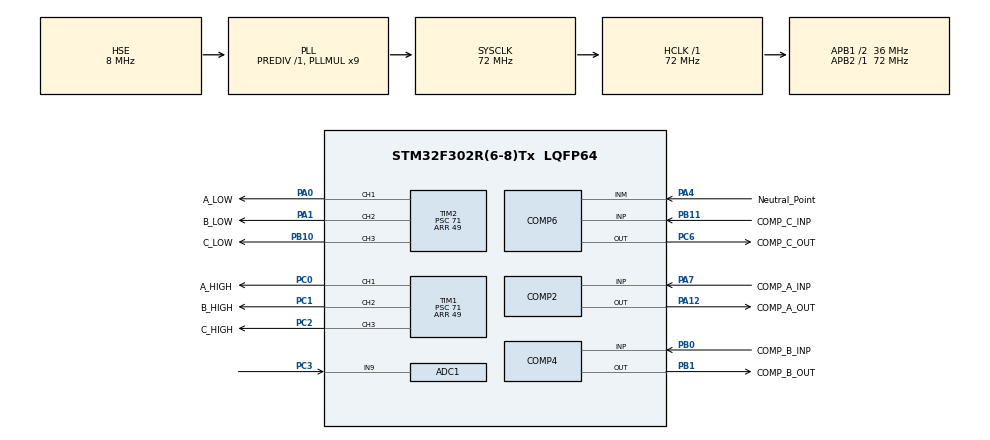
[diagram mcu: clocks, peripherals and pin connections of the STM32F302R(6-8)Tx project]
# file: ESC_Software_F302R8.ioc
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ADC1.Channel-0\#ChannelRegularConversion=ADC_CHANNEL_9
ADC1.NbrOfConversionFlag=1
ADC1.Offset-0\#ChannelRegularConversion=0
ADC1.OffsetNumber-0\#ChannelRegularConversion=ADC_OFFSET_NONE
ADC1.Rank-0\#ChannelRegularConversion=1
ADC1.SamplingTime-0\#ChannelRegularConversion=ADC_SAMPLETIME_1CYCLE_5
ADC1.SamplingTimeOPAMP-0\#ChannelRegularConversion=ADC_SAMPLETIME_61CYCLES_5
ADC1.SubFamily=STM32F302x8
ADC1.master=1
COMP2.OutputPol=COMP_OUTPUTPOL_NONINVERTED
Mcu.Family=STM32F3
Mcu.Name=STM32F302R(6-8)Tx
Mcu.Package=LQFP64
NVIC.PriorityGroup=NVIC_PRIORITYGROUP_0
NVIC.TIM1_BRK_TIM15_IRQn=true\:0\:0\:false\:false\:true\:true\:true
PA0.GPIO_Label=A_LOW
PA0.Signal=S_TIM2_CH1_ETR
PA1.GPIO_Label=B_LOW
PA1.Signal=S_TIM2_CH2
PA12.GPIO_Label=COMP_A_OUT
PA12.GPIO_Speed=GPIO_SPEED_FREQ_HIGH
PA12.Mode=ExternalOutput
PA12.Signal=COMP2_OUT
PA13.GPIO_Label=TMS
PA13.Mode=Serial_Wire
PA13.Signal=SYS_JTMS-SWDIO
PA14.GPIO_Label=TCK
PA14.Mode=Serial_Wire
PA14.Signal=SYS_JTCK-SWCLK
PA4.GPIO_Label=Neutral_Point
PA4.Signal=SharedAnalog_PA4
PA7.GPIO_Label=COMP_A_INP
PA7.Mode=INP
PA7.Signal=COMP2_INP
PB0.GPIO_Label=COMP_B_INP
PB0.Mode=INP
PB0.Signal=COMP4_INP
PB1.GPIO_Label=COMP_B_OUT
PB1.GPIO_Speed=GPIO_SPEED_FREQ_HIGH
PB1.Mode=ExternalOutput
PB1.Signal=COMP4_OUT
PB10.GPIO_Label=C_LOW
PB10.Signal=S_TIM2_CH3
PB11.GPIO_Label=COMP_C_INP
PB11.Mode=INP
PB11.Signal=COMP6_INP
PC0.GPIO_Label=A_HIGH
PC0.Signal=S_TIM1_CH1
PC1.GPIO_Label=B_HIGH
PC1.Signal=S_TIM1_CH2
PC2.GPIO_Label=C_HIGH
PC2.Signal=S_TIM1_CH3
PC3.Signal=ADCx_IN9
PC6.GPIO_Label=COMP_C_OUT
PC6.GPIO_Speed=GPIO_SPEED_FREQ_HIGH
PC6.Mode=ExternalOutput
PC6.Signal=COMP6_OUT
PF0-OSC_IN.Mode=HSE-External-Oscillator
PF0-OSC_IN.Signal=RCC_OSC_IN
PF1-OSC_OUT.Mode=HSE-External-Oscillator
PF1-OSC_OUT.Signal=RCC_OSC_OUT
ProjectManager.HeapSize=0x200
ProjectManager.StackSize=0x400
ProjectManager.TargetToolchain=STM32CubeIDE
RCC.AHBFreq_Value=72000000
RCC.APB1CLKDivider=RCC_HCLK_DIV2
RCC.APB1Freq_Value=36000000
RCC.APB1TimFreq_Value=72000000
RCC.APB2Freq_Value=72000000
RCC.APB2TimFreq_Value=72000000
RCC.CortexFreq_Value=72000000
RCC.HCLKFreq_Value=72000000
RCC.HSE_VALUE=8000000
RCC.HSI_VALUE=8000000
RCC.LSE_VALUE=32768
RCC.PLLM=8
RCC.PLLMUL=RCC_PLL_MUL9
RCC.PLLN=336
RCC.PLLP=RCC_PLLP_DIV4
RCC.PLLQ=7
RCC.PLLSourceVirtual=RCC_PLLSOURCE_HSE
RCC.SYSCLKFreq_VALUE=72000000
RCC.SYSCLKSourceVirtual=RCC_SYSCLKSOURCE_PLLCLK
RCC.USBFreq_Value=72000000
SH.ADCx_IN9.0=ADC1_IN9,IN9-Single-Ended
SH.S_TIM1_CH1.0=TIM1_CH1,PWM Generation1 CH1
SH.S_TIM1_CH2.0=TIM1_CH2,PWM Generation2 CH2
SH.S_TIM1_CH3.0=TIM1_CH3,PWM Generation3 CH3
SH.S_TIM2_CH1_ETR.0=TIM2_CH1,PWM Generation1 CH1
SH.S_TIM2_CH2.0=TIM2_CH2,PWM Generation2 CH2
SH.S_TIM2_CH3.0=TIM2_CH3,PWM Generation3 CH3
SH.SharedAnalog_PA4.0=COMP6_INM,INM
SH.SharedAnalog_PA4.1=COMP4_INM,INM
SH.SharedAnalog_PA4.2=COMP2_INM,INM
TIM1.Channel-PWM\ Generation1\ CH1=TIM_CHANNEL_1
TIM1.Channel-PWM\ Generation2\ CH2=TIM_CHANNEL_2
TIM1.Channel-PWM\ Generation3\ CH3=TIM_CHANNEL_3
TIM1.Period=49
TIM1.Prescaler=71
TIM15.Period=999
TIM15.Prescaler=71
TIM2.Channel-PWM\ Generation1\ CH1=TIM_CHANNEL_1
TIM2.Channel-PWM\ Generation2\ CH2=TIM_CHANNEL_2
TIM2.Channel-PWM\ Generation3\ CH3=TIM_CHANNEL_3
TIM2.Period=49
TIM2.Prescaler=71
VP_TIM15_VS_ClockSourceINT.Mode=Internal
board=NUCLEO-F302R8

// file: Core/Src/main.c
/* USER CODE BEGIN Header */
/**
  ******************************************************************************
  * @file           : main.c
  * @brief          : Main program body
  ******************************************************************************
  * @attention
  *
  * Copyright (c) 2022 STMicroelectronics.
  * All rights reserved.
  *
  * This software is licensed under terms that can be found in the LICENSE file
  * in the root directory of this software component.
  * If no LICENSE file comes with this software, it is provided AS-IS.
  *
  ******************************************************************************
  */
/* USER CODE END Header */
#include "main.h"

/* USER CODE BEGIN Includes */
#include "TimeTask.h"
#include "SixStepCommutation.h"
/* USER CODE END Includes */

ADC_HandleTypeDef hadc1;

COMP_HandleTypeDef hcomp2;
COMP_HandleTypeDef hcomp4;
COMP_HandleTypeDef hcomp6;

TIM_HandleTypeDef htim1;
TIM_HandleTypeDef htim2;
TIM_HandleTypeDef htim15;

void SystemClock_Config(void);
static void MX_GPIO_Init(void);
static void MX_COMP2_Init(void);
static void MX_COMP4_Init(void);
static void MX_COMP6_Init(void);
static void MX_TIM1_Init(void);
static void MX_TIM2_Init(void);
static void MX_TIM15_Init(void);
static void MX_ADC1_Init(void);

/* USER CODE BEGIN 0 */

volatile uint32_t *DWT_CONTROL = (uint32_t *) 0xE0001000;
volatile uint32_t *DWT_CYCCNT =  (uint32_t *)0xE0001004;
volatile uint32_t *DEMCR = (uint32_t *) 0xE000EDFC;
volatile uint32_t *LAR  = (uint32_t *) 0xE0001FB0;   // <-- added lock access register

/* USER CODE END 0 */

int main(void)
{

  /* MCU Configuration--------------------------------------------------------*/

  /* Reset of all peripherals, Initializes the Flash interface and the Systick. */
  HAL_Init();

  /* Configure the system clock */
  SystemClock_Config();

  /* Initialize all configured peripherals */
  MX_GPIO_Init();
  MX_COMP2_Init();
  MX_COMP4_Init();
  MX_COMP6_Init();
  MX_TIM1_Init();
  MX_TIM2_Init();
  MX_TIM15_Init();
  MX_ADC1_Init();
  /* USER CODE BEGIN 2 */

  *DEMCR = *DEMCR | 0x01000000;     // enable trace
  *LAR = 0xC5ACCE55;                // <-- added unlock access to DWT (ITM, etc.)registers
  *DWT_CYCCNT = 0;                  // clear DWT cycle counter
  *DWT_CONTROL = *DWT_CONTROL | 1;  // enable DWT cycle counter

  PeripheralsStart();

  /* USER CODE END 2 */

  /* Infinite loop */
  while (1)
  {

    /* USER CODE BEGIN 3 */

	  if(Motor_Control.System_Enable == 1)
	  {

		  if(htim1.Instance->CNT == Motor_Control.Pulse_Center)
		  {

			  if(Motor_Control.Blinde_Mode != 1)
			  {

				  Motor_Control.RPM++;

				  switch(Motor_Control.Drive_Stage)
				  {

					  case START_UP:
					  {
						  Start_Up_Motor();

						  break;
					  }

					  case ALIGN:
					  {
						  Align_Motor();

						  break;
					  }

					  case RUN:
					  {
						  Run_Motor();

						  break;
					  }

					  default:
						  break;
				  }
			  }

			  else
			  {
				  Blinde_Mode();
			  }

		  }

	  }

	  else
	  {
		  Stop_Motor();
	  }
  }
  /* USER CODE END 3 */
}

void SystemClock_Config(void)
{
  RCC_OscInitTypeDef RCC_OscInitStruct = {0};
  RCC_ClkInitTypeDef RCC_ClkInitStruct = {0};
  RCC_PeriphCLKInitTypeDef PeriphClkInit = {0};

  /** Initializes the RCC Oscillators according to the specified parameters
  * in the RCC_OscInitTypeDef structure.
  */
  RCC_OscInitStruct.OscillatorType = RCC_OSCILLATORTYPE_HSE;
  RCC_OscInitStruct.HSEState = RCC_HSE_ON;
  RCC_OscInitStruct.HSEPredivValue = RCC_HSE_PREDIV_DIV1;
  RCC_OscInitStruct.HSIState = RCC_HSI_ON;
  RCC_OscInitStruct.PLL.PLLState = RCC_PLL_ON;
  RCC_OscInitStruct.PLL.PLLSource = RCC_PLLSOURCE_HSE;
  RCC_OscInitStruct.PLL.PLLMUL = RCC_PLL_MUL9;
  if (HAL_RCC_OscConfig(&RCC_OscInitStruct) != HAL_OK)
  {
    Error_Handler();
  }
  /** Initializes the CPU, AHB and APB buses clocks
  */
  RCC_ClkInitStruct.ClockType = RCC_CLOCKTYPE_HCLK|RCC_CLOCKTYPE_SYSCLK
                              |RCC_CLOCKTYPE_PCLK1|RCC_CLOCKTYPE_PCLK2;
  RCC_ClkInitStruct.SYSCLKSource = RCC_SYSCLKSOURCE_PLLCLK;
  RCC_ClkInitStruct.AHBCLKDivider = RCC_SYSCLK_DIV1;
  RCC_ClkInitStruct.APB1CLKDivider = RCC_HCLK_DIV2;
  RCC_ClkInitStruct.APB2CLKDivider = RCC_HCLK_DIV1;

  if (HAL_RCC_ClockConfig(&RCC_ClkInitStruct, FLASH_LATENCY_2) != HAL_OK)
  {
    Error_Handler();
  }
  PeriphClkInit.PeriphClockSelection = RCC_PERIPHCLK_TIM1|RCC_PERIPHCLK_TIM15
                              |RCC_PERIPHCLK_ADC1;
  PeriphClkInit.Tim1ClockSelection = RCC_TIM1CLK_HCLK;
  PeriphClkInit.Tim15ClockSelection = RCC_TIM15CLK_HCLK;
  PeriphClkInit.Adc1ClockSelection = RCC_ADC1PLLCLK_DIV1;

  if (HAL_RCCEx_PeriphCLKConfig(&PeriphClkInit) != HAL_OK)
  {
    Error_Handler();
  }
}

static void MX_ADC1_Init(void)
{

  ADC_ChannelConfTypeDef sConfig = {0};

  /** Common config
  */
  hadc1.Instance = ADC1;
  hadc1.Init.ClockPrescaler = ADC_CLOCK_ASYNC_DIV1;
  hadc1.Init.Resolution = ADC_RESOLUTION_12B;
  hadc1.Init.ScanConvMode = ADC_SCAN_DISABLE;
  hadc1.Init.ContinuousConvMode = DISABLE;
  hadc1.Init.DiscontinuousConvMode = DISABLE;
  hadc1.Init.ExternalTrigConvEdge = ADC_EXTERNALTRIGCONVEDGE_NONE;
  hadc1.Init.ExternalTrigConv = ADC_SOFTWARE_START;
  hadc1.Init.DataAlign = ADC_DATAALIGN_RIGHT;
  hadc1.Init.NbrOfConversion = 1;
  hadc1.Init.DMAContinuousRequests = DISABLE;
  hadc1.Init.EOCSelection = ADC_EOC_SINGLE_CONV;
  hadc1.Init.LowPowerAutoWait = DISABLE;
  hadc1.Init.Overrun = ADC_OVR_DATA_OVERWRITTEN;
  if (HAL_ADC_Init(&hadc1) != HAL_OK)
  {
    Error_Handler();
  }
  /** Configure Regular Channel
  */
  sConfig.Channel = ADC_CHANNEL_9;
  sConfig.Rank = ADC_REGULAR_RANK_1;
  sConfig.SingleDiff = ADC_SINGLE_ENDED;
  sConfig.SamplingTime = ADC_SAMPLETIME_1CYCLE_5;
  sConfig.OffsetNumber = ADC_OFFSET_NONE;
  sConfig.Offset = 0;
  if (HAL_ADC_ConfigChannel(&hadc1, &sConfig) != HAL_OK)
  {
    Error_Handler();
  }

}

static void MX_COMP2_Init(void)
{

  hcomp2.Instance = COMP2;
  hcomp2.Init.InvertingInput = COMP_INVERTINGINPUT_DAC1_CH1;
  hcomp2.Init.NonInvertingInput = COMP_NONINVERTINGINPUT_IO1;
  hcomp2.Init.Output = COMP_OUTPUT_NONE;
  hcomp2.Init.OutputPol = COMP_OUTPUTPOL_NONINVERTED;
  hcomp2.Init.BlankingSrce = COMP_BLANKINGSRCE_NONE;
  hcomp2.Init.TriggerMode = COMP_TRIGGERMODE_NONE;
  if (HAL_COMP_Init(&hcomp2) != HAL_OK)
  {
    Error_Handler();
  }

}

static void MX_COMP4_Init(void)
{

  hcomp4.Instance = COMP4;
  hcomp4.Init.InvertingInput = COMP_INVERTINGINPUT_DAC1_CH1;
  hcomp4.Init.NonInvertingInput = COMP_NONINVERTINGINPUT_IO1;
  hcomp4.Init.Output = COMP_OUTPUT_NONE;
  hcomp4.Init.OutputPol = COMP_OUTPUTPOL_NONINVERTED;
  hcomp4.Init.BlankingSrce = COMP_BLANKINGSRCE_NONE;
  hcomp4.Init.TriggerMode = COMP_TRIGGERMODE_NONE;
  if (HAL_COMP_Init(&hcomp4) != HAL_OK)
  {
    Error_Handler();
  }

}

static void MX_COMP6_Init(void)
{

  hcomp6.Instance = COMP6;
  hcomp6.Init.InvertingInput = COMP_INVERTINGINPUT_DAC1_CH1;
  hcomp6.Init.NonInvertingInput = COMP_NONINVERTINGINPUT_IO1;
  hcomp6.Init.Output = COMP_OUTPUT_NONE;
  hcomp6.Init.OutputPol = COMP_OUTPUTPOL_NONINVERTED;
  hcomp6.Init.BlankingSrce = COMP_BLANKINGSRCE_NONE;
  hcomp6.Init.TriggerMode = COMP_TRIGGERMODE_NONE;
  if (HAL_COMP_Init(&hcomp6) != HAL_OK)
  {
    Error_Handler();
  }

}

static void MX_TIM1_Init(void)
{

  TIM_MasterConfigTypeDef sMasterConfig = {0};
  TIM_OC_InitTypeDef sConfigOC = {0};
  TIM_BreakDeadTimeConfigTypeDef sBreakDeadTimeConfig = {0};

  htim1.Instance = TIM1;
  htim1.Init.Prescaler = 71;
  htim1.Init.CounterMode = TIM_COUNTERMODE_UP;
  htim1.Init.Period = 49;
  htim1.Init.ClockDivision = TIM_CLOCKDIVISION_DIV1;
  htim1.Init.RepetitionCounter = 0;
  htim1.Init.AutoReloadPreload = TIM_AUTORELOAD_PRELOAD_DISABLE;
  if (HAL_TIM_PWM_Init(&htim1) != HAL_OK)
  {
    Error_Handler();
  }
  sMasterConfig.MasterOutputTrigger = TIM_TRGO_RESET;
  sMasterConfig.MasterOutputTrigger2 = TIM_TRGO2_RESET;
  sMasterConfig.MasterSlaveMode = TIM_MASTERSLAVEMODE_DISABLE;
  if (HAL_TIMEx_MasterConfigSynchronization(&htim1, &sMasterConfig) != HAL_OK)
  {
    Error_Handler();
  }
  sConfigOC.OCMode = TIM_OCMODE_PWM1;
  sConfigOC.Pulse = 0;
  sConfigOC.OCPolarity = TIM_OCPOLARITY_HIGH;
  sConfigOC.OCNPolarity = TIM_OCNPOLARITY_HIGH;
  sConfigOC.OCFastMode = TIM_OCFAST_DISABLE;
  sConfigOC.OCIdleState = TIM_OCIDLESTATE_RESET;
  sConfigOC.OCNIdleState = TIM_OCNIDLESTATE_RESET;
  if (HAL_TIM_PWM_ConfigChannel(&htim1, &sConfigOC, TIM_CHANNEL_1) != HAL_OK)
  {
    Error_Handler();
  }
  if (HAL_TIM_PWM_ConfigChannel(&htim1, &sConfigOC, TIM_CHANNEL_2) != HAL_OK)
  {
    Error_Handler();
  }
  if (HAL_TIM_PWM_ConfigChannel(&htim1, &sConfigOC, TIM_CHANNEL_3) != HAL_OK)
  {
    Error_Handler();
  }
  sBreakDeadTimeConfig.OffStateRunMode = TIM_OSSR_DISABLE;
  sBreakDeadTimeConfig.OffStateIDLEMode = TIM_OSSI_DISABLE;
  sBreakDeadTimeConfig.LockLevel = TIM_LOCKLEVEL_OFF;
  sBreakDeadTimeConfig.DeadTime = 0;
  sBreakDeadTimeConfig.BreakState = TIM_BREAK_DISABLE;
  sBreakDeadTimeConfig.BreakPolarity = TIM_BREAKPOLARITY_HIGH;
  sBreakDeadTimeConfig.BreakFilter = 0;
  sBreakDeadTimeConfig.Break2State = TIM_BREAK2_DISABLE;
  sBreakDeadTimeConfig.Break2Polarity = TIM_BREAK2POLARITY_HIGH;
  sBreakDeadTimeConfig.Break2Filter = 0;
  sBreakDeadTimeConfig.AutomaticOutput = TIM_AUTOMATICOUTPUT_DISABLE;
  if (HAL_TIMEx_ConfigBreakDeadTime(&htim1, &sBreakDeadTimeConfig) != HAL_OK)
  {
    Error_Handler();
  }
  HAL_TIM_MspPostInit(&htim1);

}

static void MX_TIM2_Init(void)
{

  TIM_MasterConfigTypeDef sMasterConfig = {0};
  TIM_OC_InitTypeDef sConfigOC = {0};

  htim2.Instance = TIM2;
  htim2.Init.Prescaler = 71;
  htim2.Init.CounterMode = TIM_COUNTERMODE_UP;
  htim2.Init.Period = 49;
  htim2.Init.ClockDivision = TIM_CLOCKDIVISION_DIV1;
  htim2.Init.AutoReloadPreload = TIM_AUTORELOAD_PRELOAD_DISABLE;
  if (HAL_TIM_PWM_Init(&htim2) != HAL_OK)
  {
    Error_Handler();
  }
  sMasterConfig.MasterOutputTrigger = TIM_TRGO_RESET;
  sMasterConfig.MasterSlaveMode = TIM_MASTERSLAVEMODE_DISABLE;
  if (HAL_TIMEx_MasterConfigSynchronization(&htim2, &sMasterConfig) != HAL_OK)
  {
    Error_Handler();
  }
  sConfigOC.OCMode = TIM_OCMODE_PWM1;
  sConfigOC.Pulse = 0;
  sConfigOC.OCPolarity = TIM_OCPOLARITY_HIGH;
  sConfigOC.OCFastMode = TIM_OCFAST_DISABLE;
  if (HAL_TIM_PWM_ConfigChannel(&htim2, &sConfigOC, TIM_CHANNEL_1) != HAL_OK)
  {
    Error_Handler();
  }
  if (HAL_TIM_PWM_ConfigChannel(&htim2, &sConfigOC, TIM_CHANNEL_2) != HAL_OK)
  {
    Error_Handler();
  }
  if (HAL_TIM_PWM_ConfigChannel(&htim2, &sConfigOC, TIM_CHANNEL_3) != HAL_OK)
  {
    Error_Handler();
  }
  HAL_TIM_MspPostInit(&htim2);

}

static void MX_TIM15_Init(void)
{

  TIM_ClockConfigTypeDef sClockSourceConfig = {0};
  TIM_MasterConfigTypeDef sMasterConfig = {0};

  htim15.Instance = TIM15;
  htim15.Init.Prescaler = 71;
  htim15.Init.CounterMode = TIM_COUNTERMODE_UP;
  htim15.Init.Period = 999;
  htim15.Init.ClockDivision = TIM_CLOCKDIVISION_DIV1;
  htim15.Init.RepetitionCounter = 0;
  htim15.Init.AutoReloadPreload = TIM_AUTORELOAD_PRELOAD_DISABLE;
  if (HAL_TIM_Base_Init(&htim15) != HAL_OK)
  {
    Error_Handler();
  }
  sClockSourceConfig.ClockSource = TIM_CLOCKSOURCE_INTERNAL;
  if (HAL_TIM_ConfigClockSource(&htim15, &sClockSourceConfig) != HAL_OK)
  {
    Error_Handler();
  }
  sMasterConfig.MasterOutputTrigger = TIM_TRGO_RESET;
  sMasterConfig.MasterSlaveMode = TIM_MASTERSLAVEMODE_DISABLE;
  if (HAL_TIMEx_MasterConfigSynchronization(&htim15, &sMasterConfig) != HAL_OK)
  {
    Error_Handler();
  }

}

static void MX_GPIO_Init(void)
{

  /* GPIO Ports Clock Enable */
  __HAL_RCC_GPIOF_CLK_ENABLE();
  __HAL_RCC_GPIOC_CLK_ENABLE();
  __HAL_RCC_GPIOA_CLK_ENABLE();
  __HAL_RCC_GPIOB_CLK_ENABLE();

}

void Error_Handler(void)
{
  __disable_irq();
  while (1)
  {
  }
}
